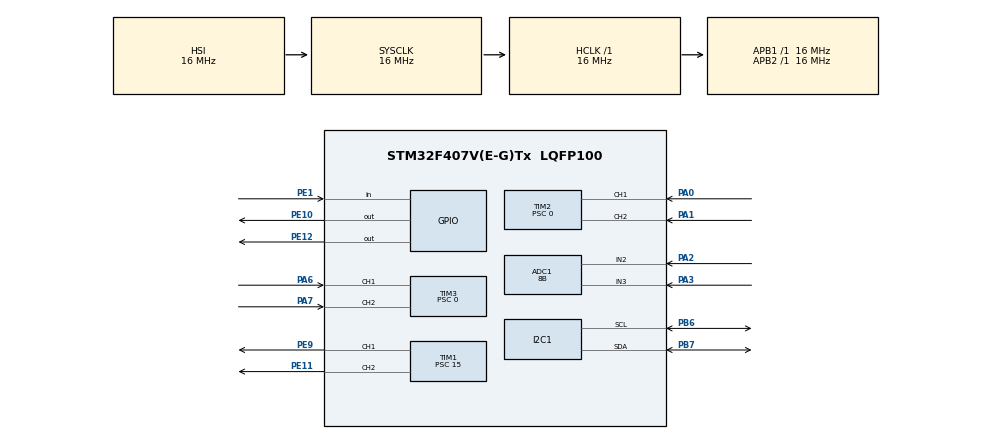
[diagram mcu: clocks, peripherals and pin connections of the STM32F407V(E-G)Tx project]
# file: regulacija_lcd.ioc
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ADC1.Channel-8\#ChannelRegularConversion=ADC_CHANNEL_2
ADC1.Channel-9\#ChannelRegularConversion=ADC_CHANNEL_3
ADC1.ClockPrescaler=ADC_CLOCK_SYNC_PCLK_DIV8
ADC1.ContinuousConvMode=ENABLE
ADC1.DMAContinuousRequests=ENABLE
ADC1.NbrOfConversion=2
ADC1.NbrOfConversionFlag=1
ADC1.Rank-8\#ChannelRegularConversion=1
ADC1.Rank-9\#ChannelRegularConversion=2
ADC1.Resolution=ADC_RESOLUTION_8B
ADC1.SamplingTime-8\#ChannelRegularConversion=ADC_SAMPLETIME_480CYCLES
ADC1.SamplingTime-9\#ChannelRegularConversion=ADC_SAMPLETIME_480CYCLES
ADC1.ScanConvMode=ENABLE
ADC1.master=1
Dma.ADC1.0.Direction=DMA_PERIPH_TO_MEMORY
Dma.ADC1.0.FIFOMode=DMA_FIFOMODE_DISABLE
Dma.ADC1.0.Instance=DMA2_Stream0
Dma.ADC1.0.MemDataAlignment=DMA_MDATAALIGN_BYTE
Dma.ADC1.0.MemInc=DMA_MINC_ENABLE
Dma.ADC1.0.Mode=DMA_CIRCULAR
Dma.ADC1.0.PeriphDataAlignment=DMA_PDATAALIGN_BYTE
Dma.ADC1.0.PeriphInc=DMA_PINC_DISABLE
Dma.ADC1.0.Priority=DMA_PRIORITY_LOW
Dma.Request0=ADC1
Mcu.Family=STM32F4
Mcu.Name=STM32F407V(E-G)Tx
Mcu.Package=LQFP100
NVIC.DMA2_Stream0_IRQn=true\:0\:0\:false\:false\:true\:false
NVIC.PriorityGroup=NVIC_PRIORITYGROUP_4
NVIC.TIM4_IRQn=true\:0\:0\:false\:false\:true\:true
PA0-WKUP.GPIO_PuPd=GPIO_PULLUP
PA0-WKUP.Signal=S_TIM2_CH1_ETR
PA1.GPIO_PuPd=GPIO_PULLUP
PA1.Signal=S_TIM2_CH2
PA2.Signal=ADCx_IN2
PA3.Signal=ADCx_IN3
PA6.GPIO_PuPd=GPIO_PULLUP
PA6.Signal=S_TIM3_CH1
PA7.GPIO_PuPd=GPIO_PULLUP
PA7.Signal=S_TIM3_CH2
PB6.Mode=I2C
PB6.Signal=I2C1_SCL
PB7.Mode=I2C
PB7.Signal=I2C1_SDA
PE1.GPIO_PuPd=GPIO_PULLUP
PE1.Signal=GPIO_Input
PE10.Signal=GPIO_Output
PE11.GPIO_PuPd=GPIO_NOPULL
PE11.Signal=S_TIM1_CH2
PE12.Signal=GPIO_Output
PE9.GPIO_PuPd=GPIO_NOPULL
PE9.Signal=S_TIM1_CH1
ProjectManager.HeapSize=0x200
ProjectManager.StackSize=0x400
ProjectManager.TargetToolchain=MDK-ARM V5
RCC.AHBFreq_Value=16000000
RCC.APB1Freq_Value=16000000
RCC.APB2Freq_Value=16000000
RCC.CortexFreq_Value=16000000
RCC.HSE_VALUE=25000000
RCC.HSI_VALUE=16000000
RCC.LSE_VALUE=32768
RCC.SYSCLKFreq_VALUE=16000000
RCC.VCOOutputFreq_Value=192000000
SH.ADCx_IN2.0=ADC1_IN2,IN2
SH.ADCx_IN3.0=ADC1_IN3,IN3
SH.S_TIM1_CH1.0=TIM1_CH1,PWM Generation1 CH1
SH.S_TIM1_CH2.0=TIM1_CH2,PWM Generation2 CH2
SH.S_TIM2_CH1_ETR.0=TIM2_CH1,Encoder_Interface
SH.S_TIM2_CH2.0=TIM2_CH2,Encoder_Interface
SH.S_TIM3_CH1.0=TIM3_CH1,Encoder_Interface
SH.S_TIM3_CH2.0=TIM3_CH2,Encoder_Interface
TIM1.Channel-PWM\ Generation1\ CH1=TIM_CHANNEL_1
TIM1.Channel-PWM\ Generation2\ CH2=TIM_CHANNEL_2
TIM1.Period=100
TIM1.Prescaler=15
TIM2.EncoderMode=TIM_ENCODERMODE_TI12
TIM2.IC1Filter=15
TIM2.IC2Filter=15
TIM2.Period=2400
TIM2.Prescaler=0
TIM3.EncoderMode=TIM_ENCODERMODE_TI12
TIM3.IC1Filter=15
TIM3.IC2Filter=15
TIM3.Period=2400
TIM3.Prescaler=0
TIM4.Period=1000
TIM4.Prescaler=15
TIM4.TIM_MasterOutputTrigger=TIM_TRGO_UPDATE
VP_TIM1_VS_ClockSourceINT.Mode=Internal
VP_TIM4_VS_ClockSourceINT.Mode=Internal
board=regulacija_lcd

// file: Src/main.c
/**
  ******************************************************************************
  * File Name          : main.c
  * Description        : Main program body
  ******************************************************************************
  ** This notice applies to any and all portions of this file
  * that are not between comment pairs USER CODE BEGIN and
  * USER CODE END. Other portions of this file, whether
  * inserted by the user or by software development tools
  * are owned by their respective copyright owners.
  *
  * COPYRIGHT(c) 2018 STMicroelectronics
  *
  * Redistribution and use in source and binary forms, with or without modification,
  * are permitted provided that the following conditions are met:
  *   1. Redistributions of source code must retain the above copyright notice,
  *      this list of conditions and the following disclaimer.
  *   2. Redistributions in binary form must reproduce the above copyright notice,
  *      this list of conditions and the following disclaimer in the documentation
  *      and/or other materials provided with the distribution.
  *   3. Neither the name of STMicroelectronics nor the names of its contributors
  *      may be used to endorse or promote products derived from this software
  *      without specific prior written permission.
  *
  * THIS SOFTWARE IS PROVIDED BY THE COPYRIGHT HOLDERS AND CONTRIBUTORS "AS IS"
  * AND ANY EXPRESS OR IMPLIED WARRANTIES, INCLUDING, BUT NOT LIMITED TO, THE
  * IMPLIED WARRANTIES OF MERCHANTABILITY AND FITNESS FOR A PARTICULAR PURPOSE ARE
  * DISCLAIMED. IN NO EVENT SHALL THE COPYRIGHT HOLDER OR CONTRIBUTORS BE LIABLE
  * FOR ANY DIRECT, INDIRECT, INCIDENTAL, SPECIAL, EXEMPLARY, OR CONSEQUENTIAL
  * DAMAGES (INCLUDING, BUT NOT LIMITED TO, PROCUREMENT OF SUBSTITUTE GOODS OR
  * SERVICES; LOSS OF USE, DATA, OR PROFITS; OR BUSINESS INTERRUPTION) HOWEVER
  * CAUSED AND ON ANY THEORY OF LIABILITY, WHETHER IN CONTRACT, STRICT LIABILITY,
  * OR TORT (INCLUDING NEGLIGENCE OR OTHERWISE) ARISING IN ANY WAY OUT OF THE USE
  * OF THIS SOFTWARE, EVEN IF ADVISED OF THE POSSIBILITY OF SUCH DAMAGE.
  *
  ******************************************************************************
  */
#include "main.h"
#include "stm32f4xx_hal.h"
#include "math.h"
#include "regulator.h"
#include "parametri.h"

ADC_HandleTypeDef hadc1;
DMA_HandleTypeDef hdma_adc1;

I2C_HandleTypeDef hi2c1;

TIM_HandleTypeDef htim1;
TIM_HandleTypeDef htim2;
TIM_HandleTypeDef htim3;
TIM_HandleTypeDef htim4;

/* USER CODE BEGIN PV */
/* Private variables ---------------------------------------------------------*/
#define LCD_ADDRESS_W		0x7E
/* USER CODE END PV */

void SystemClock_Config(void);
static void MX_GPIO_Init(void);
static void MX_DMA_Init(void);
static void MX_TIM1_Init(void);
static void MX_TIM2_Init(void);
static void MX_TIM3_Init(void);
static void MX_TIM4_Init(void);
static void MX_I2C1_Init(void);
static void MX_ADC1_Init(void);

void HAL_TIM_MspPostInit(TIM_HandleTypeDef *htim);

/* USER CODE BEGIN PFP */
/* Private function prototypes -----------------------------------------------*/
void lcd_send_cmd(char cmd)
{
	char data_u, data_l;
	uint8_t data_t[4];
	data_u = cmd&0xf0; //select upper nibble
	data_l = (cmd<<4)&0xf0; //select lower nibble
	data_t[0] = data_u|0x04;  //en=1, rs=0
	data_t[1] = data_u;  //en=0, rs=0
	data_t[2] = data_l|0x04;  //en=1, rs=0
	data_t[3] = data_l;  //en=0, rs=0
	HAL_I2C_Master_Transmit (&hi2c1, LCD_ADDRESS_W, data_t, 4, 50);
}

/* LCD data function */
void lcd_send_data (char data)
{
	char data_u, data_l;
	uint8_t data_t[4];
	data_u = data&0xf0;    // upper data nibble
	data_l = (data<<4)&0xf0;    // lower data nibble
	data_t[0] = data_u|0x05;  //en=1, rs=1
	data_t[1] = data_u|0x01;  //en=0, rs=1
	data_t[2] = data_l|0x05;  //en=1, rs=1
	data_t[3] = data_l|0x01;  //en=0, rs=1
	HAL_I2C_Master_Transmit (&hi2c1, LCD_ADDRESS_W, data_t, 4, 100);
}

/* LCD init */
void lcd_init(void)
{
	lcd_send_cmd(0x01); //clear display
	lcd_send_cmd(0x02);	//return home
	lcd_send_cmd(0x28); // 4 bits, 2 lines
	lcd_send_cmd(0x0c); // display on, cursor off
	//lcd_send_cmd(0x83); // set DDRAM position
}

/* LCD send string */
void lcd_send_string (char *str)
{
	uint8_t i = 0;
	while (*str) {
		lcd_send_data(*str++);
		i++;
	}
	if(i == 2){
		lcd_send_data(' ');
	}
}

void lcd_write_deg (char *deg, uint8_t pos)
{
	lcd_send_cmd(pos);
	lcd_send_string(deg);
}
/* USER CODE END PFP */

/* USER CODE BEGIN 0 */
int dutyCycle1, dutyCycle2;
double deg1, deg2, ref1, ref2, err1, err2, pitch_int, yaw_int, anti_windup_pitch, anti_windup_yaw;
double	u_int1, u_int2, u_p1, u_p2, u_pff, u_pitch, u_yaw;
//(k), (k-1), (k-2)
double speed_pitch[3] = {0.0, 0.0, 0.0};
double speed_yaw[3] = {0.0, 0.0, 0.0};
//(k-1), (k-2)
double pitch[2] = {0.0, 0.0};
double yaw[2] = {0.0, 0.0};
double test[3] = {1.0, 2.0, 3.0};
uint8_t potentiometer[2];
int pot2deg[2];
char pitch_buffer[4];
char yaw_buffer[4];
uint8_t lcd_pos[2] = {0xc3,0xcc};
GPIO_PinState button, last_State;
/* USER CODE END 0 */

int main(void)
{

  /* USER CODE BEGIN 1 */
	/* PWM inicijalizacija */
	ref1 = 0.0;
	ref2 = 0.0;

	pitch_int = 0.0;
	yaw_int = 0.0;
	anti_windup_pitch = 0.0;
	anti_windup_yaw = 0.0;

	last_State = 1;

  /* USER CODE END 1 */

  /* MCU Configuration----------------------------------------------------------*/

  /* Reset of all peripherals, Initializes the Flash interface and the Systick. */
  HAL_Init();

  /* Configure the system clock */
  SystemClock_Config();

  /* Initialize all configured peripherals */
  MX_GPIO_Init();
  MX_DMA_Init();
  MX_TIM1_Init();
  MX_TIM2_Init();
  MX_TIM3_Init();
  MX_TIM4_Init();
  MX_I2C1_Init();
  MX_ADC1_Init();

  /* USER CODE BEGIN 2 */
	HAL_GPIO_WritePin(GPIOE,GPIO_PIN_10,(GPIO_PinState)0);
	HAL_GPIO_WritePin(GPIOE,GPIO_PIN_12,(GPIO_PinState)0);
	/* PWM timer start */
	HAL_TIM_PWM_Start(&htim1, TIM_CHANNEL_1);
	HAL_TIM_PWM_Start(&htim1, TIM_CHANNEL_2);
	/* Encoder timer start */
	HAL_TIM_Encoder_Start(&htim2,TIM_CHANNEL_ALL);
	HAL_TIM_Encoder_Start(&htim3,TIM_CHANNEL_ALL);
	/* Start main loop */
	HAL_TIM_Base_Start_IT(&htim4);
	/* Potentiometer start */
	HAL_ADC_Start_DMA(&hadc1, (uint32_t*)potentiometer, 2);

	lcd_init();

	lcd_send_string("PITCH:   YAW:   ");

  /* USER CODE END 2 */

  /* Infinite loop */
  while (1)
  {

  }

}

/** System Clock Configuration
*/
void SystemClock_Config(void)
{

  RCC_OscInitTypeDef RCC_OscInitStruct;
  RCC_ClkInitTypeDef RCC_ClkInitStruct;

    /**Configure the main internal regulator output voltage
    */
  __HAL_RCC_PWR_CLK_ENABLE();

  __HAL_PWR_VOLTAGESCALING_CONFIG(PWR_REGULATOR_VOLTAGE_SCALE1);

    /**Initializes the CPU, AHB and APB busses clocks
    */
  RCC_OscInitStruct.OscillatorType = RCC_OSCILLATORTYPE_HSI;
  RCC_OscInitStruct.HSIState = RCC_HSI_ON;
  RCC_OscInitStruct.HSICalibrationValue = 16;
  RCC_OscInitStruct.PLL.PLLState = RCC_PLL_NONE;
  if (HAL_RCC_OscConfig(&RCC_OscInitStruct) != HAL_OK)
  {
    _Error_Handler(__FILE__, __LINE__);
  }

    /**Initializes the CPU, AHB and APB busses clocks
    */
  RCC_ClkInitStruct.ClockType = RCC_CLOCKTYPE_HCLK|RCC_CLOCKTYPE_SYSCLK
                              |RCC_CLOCKTYPE_PCLK1|RCC_CLOCKTYPE_PCLK2;
  RCC_ClkInitStruct.SYSCLKSource = RCC_SYSCLKSOURCE_HSI;
  RCC_ClkInitStruct.AHBCLKDivider = RCC_SYSCLK_DIV1;
  RCC_ClkInitStruct.APB1CLKDivider = RCC_HCLK_DIV1;
  RCC_ClkInitStruct.APB2CLKDivider = RCC_HCLK_DIV1;

  if (HAL_RCC_ClockConfig(&RCC_ClkInitStruct, FLASH_LATENCY_0) != HAL_OK)
  {
    _Error_Handler(__FILE__, __LINE__);
  }

    /**Configure the Systick interrupt time
    */
  HAL_SYSTICK_Config(HAL_RCC_GetHCLKFreq()/1000);

    /**Configure the Systick
    */
  HAL_SYSTICK_CLKSourceConfig(SYSTICK_CLKSOURCE_HCLK);

  /* SysTick_IRQn interrupt configuration */
  HAL_NVIC_SetPriority(SysTick_IRQn, 0, 0);
}

/* ADC1 init function */
static void MX_ADC1_Init(void)
{

  ADC_ChannelConfTypeDef sConfig;

    /**Configure the global features of the ADC (Clock, Resolution, Data Alignment and number of conversion)
    */
  hadc1.Instance = ADC1;
  hadc1.Init.ClockPrescaler = ADC_CLOCK_SYNC_PCLK_DIV8;
  hadc1.Init.Resolution = ADC_RESOLUTION_8B;
  hadc1.Init.ScanConvMode = ENABLE;
  hadc1.Init.ContinuousConvMode = ENABLE;
  hadc1.Init.DiscontinuousConvMode = DISABLE;
  hadc1.Init.ExternalTrigConvEdge = ADC_EXTERNALTRIGCONVEDGE_NONE;
  hadc1.Init.ExternalTrigConv = ADC_SOFTWARE_START;
  hadc1.Init.DataAlign = ADC_DATAALIGN_RIGHT;
  hadc1.Init.NbrOfConversion = 2;
  hadc1.Init.DMAContinuousRequests = ENABLE;
  hadc1.Init.EOCSelection = ADC_EOC_SINGLE_CONV;
  if (HAL_ADC_Init(&hadc1) != HAL_OK)
  {
    _Error_Handler(__FILE__, __LINE__);
  }

    /**Configure for the selected ADC regular channel its corresponding rank in the sequencer and its sample time.
    */
  sConfig.Channel = ADC_CHANNEL_2;
  sConfig.Rank = 1;
  sConfig.SamplingTime = ADC_SAMPLETIME_480CYCLES;
  if (HAL_ADC_ConfigChannel(&hadc1, &sConfig) != HAL_OK)
  {
    _Error_Handler(__FILE__, __LINE__);
  }

    /**Configure for the selected ADC regular channel its corresponding rank in the sequencer and its sample time.
    */
  sConfig.Channel = ADC_CHANNEL_3;
  sConfig.Rank = 2;
  if (HAL_ADC_ConfigChannel(&hadc1, &sConfig) != HAL_OK)
  {
    _Error_Handler(__FILE__, __LINE__);
  }

}

/* I2C1 init function */
static void MX_I2C1_Init(void)
{

  hi2c1.Instance = I2C1;
  hi2c1.Init.ClockSpeed = 100000;
  hi2c1.Init.DutyCycle = I2C_DUTYCYCLE_2;
  hi2c1.Init.OwnAddress1 = 0;
  hi2c1.Init.AddressingMode = I2C_ADDRESSINGMODE_7BIT;
  hi2c1.Init.DualAddressMode = I2C_DUALADDRESS_DISABLE;
  hi2c1.Init.OwnAddress2 = 0;
  hi2c1.Init.GeneralCallMode = I2C_GENERALCALL_DISABLE;
  hi2c1.Init.NoStretchMode = I2C_NOSTRETCH_DISABLE;
  if (HAL_I2C_Init(&hi2c1) != HAL_OK)
  {
    _Error_Handler(__FILE__, __LINE__);
  }

}

/* TIM1 init function */
static void MX_TIM1_Init(void)
{

  TIM_ClockConfigTypeDef sClockSourceConfig;
  TIM_MasterConfigTypeDef sMasterConfig;
  TIM_OC_InitTypeDef sConfigOC;
  TIM_BreakDeadTimeConfigTypeDef sBreakDeadTimeConfig;

  htim1.Instance = TIM1;
  htim1.Init.Prescaler = 15;
  htim1.Init.CounterMode = TIM_COUNTERMODE_UP;
  htim1.Init.Period = 100;
  htim1.Init.ClockDivision = TIM_CLOCKDIVISION_DIV1;
  htim1.Init.RepetitionCounter = 0;
  if (HAL_TIM_Base_Init(&htim1) != HAL_OK)
  {
    _Error_Handler(__FILE__, __LINE__);
  }

  sClockSourceConfig.ClockSource = TIM_CLOCKSOURCE_INTERNAL;
  if (HAL_TIM_ConfigClockSource(&htim1, &sClockSourceConfig) != HAL_OK)
  {
    _Error_Handler(__FILE__, __LINE__);
  }

  if (HAL_TIM_PWM_Init(&htim1) != HAL_OK)
  {
    _Error_Handler(__FILE__, __LINE__);
  }

  sMasterConfig.MasterOutputTrigger = TIM_TRGO_RESET;
  sMasterConfig.MasterSlaveMode = TIM_MASTERSLAVEMODE_DISABLE;
  if (HAL_TIMEx_MasterConfigSynchronization(&htim1, &sMasterConfig) != HAL_OK)
  {
    _Error_Handler(__FILE__, __LINE__);
  }

  sConfigOC.OCMode = TIM_OCMODE_PWM1;
  sConfigOC.Pulse = 0;
  sConfigOC.OCPolarity = TIM_OCPOLARITY_HIGH;
  sConfigOC.OCNPolarity = TIM_OCNPOLARITY_HIGH;
  sConfigOC.OCFastMode = TIM_OCFAST_DISABLE;
  sConfigOC.OCIdleState = TIM_OCIDLESTATE_RESET;
  sConfigOC.OCNIdleState = TIM_OCNIDLESTATE_RESET;
  if (HAL_TIM_PWM_ConfigChannel(&htim1, &sConfigOC, TIM_CHANNEL_1) != HAL_OK)
  {
    _Error_Handler(__FILE__, __LINE__);
  }

  if (HAL_TIM_PWM_ConfigChannel(&htim1, &sConfigOC, TIM_CHANNEL_2) != HAL_OK)
  {
    _Error_Handler(__FILE__, __LINE__);
  }

  sBreakDeadTimeConfig.OffStateRunMode = TIM_OSSR_DISABLE;
  sBreakDeadTimeConfig.OffStateIDLEMode = TIM_OSSI_DISABLE;
  sBreakDeadTimeConfig.LockLevel = TIM_LOCKLEVEL_OFF;
  sBreakDeadTimeConfig.DeadTime = 0;
  sBreakDeadTimeConfig.BreakState = TIM_BREAK_DISABLE;
  sBreakDeadTimeConfig.BreakPolarity = TIM_BREAKPOLARITY_HIGH;
  sBreakDeadTimeConfig.AutomaticOutput = TIM_AUTOMATICOUTPUT_DISABLE;
  if (HAL_TIMEx_ConfigBreakDeadTime(&htim1, &sBreakDeadTimeConfig) != HAL_OK)
  {
    _Error_Handler(__FILE__, __LINE__);
  }

  HAL_TIM_MspPostInit(&htim1);

}

/* TIM2 init function */
static void MX_TIM2_Init(void)
{

  TIM_Encoder_InitTypeDef sConfig;
  TIM_MasterConfigTypeDef sMasterConfig;

  htim2.Instance = TIM2;
  htim2.Init.Prescaler = 0;
  htim2.Init.CounterMode = TIM_COUNTERMODE_UP;
  htim2.Init.Period = 2400;
  htim2.Init.ClockDivision = TIM_CLOCKDIVISION_DIV1;
  sConfig.EncoderMode = TIM_ENCODERMODE_TI12;
  sConfig.IC1Polarity = TIM_ICPOLARITY_RISING;
  sConfig.IC1Selection = TIM_ICSELECTION_DIRECTTI;
  sConfig.IC1Prescaler = TIM_ICPSC_DIV1;
  sConfig.IC1Filter = 15;
  sConfig.IC2Polarity = TIM_ICPOLARITY_RISING;
  sConfig.IC2Selection = TIM_ICSELECTION_DIRECTTI;
  sConfig.IC2Prescaler = TIM_ICPSC_DIV1;
  sConfig.IC2Filter = 15;
  if (HAL_TIM_Encoder_Init(&htim2, &sConfig) != HAL_OK)
  {
    _Error_Handler(__FILE__, __LINE__);
  }

  sMasterConfig.MasterOutputTrigger = TIM_TRGO_RESET;
  sMasterConfig.MasterSlaveMode = TIM_MASTERSLAVEMODE_DISABLE;
  if (HAL_TIMEx_MasterConfigSynchronization(&htim2, &sMasterConfig) != HAL_OK)
  {
    _Error_Handler(__FILE__, __LINE__);
  }

}

/* TIM3 init function */
static void MX_TIM3_Init(void)
{

  TIM_Encoder_InitTypeDef sConfig;
  TIM_MasterConfigTypeDef sMasterConfig;

  htim3.Instance = TIM3;
  htim3.Init.Prescaler = 0;
  htim3.Init.CounterMode = TIM_COUNTERMODE_UP;
  htim3.Init.Period = 2400;
  htim3.Init.ClockDivision = TIM_CLOCKDIVISION_DIV1;
  sConfig.EncoderMode = TIM_ENCODERMODE_TI12;
  sConfig.IC1Polarity = TIM_ICPOLARITY_RISING;
  sConfig.IC1Selection = TIM_ICSELECTION_DIRECTTI;
  sConfig.IC1Prescaler = TIM_ICPSC_DIV1;
  sConfig.IC1Filter = 15;
  sConfig.IC2Polarity = TIM_ICPOLARITY_RISING;
  sConfig.IC2Selection = TIM_ICSELECTION_DIRECTTI;
  sConfig.IC2Prescaler = TIM_ICPSC_DIV1;
  sConfig.IC2Filter = 15;
  if (HAL_TIM_Encoder_Init(&htim3, &sConfig) != HAL_OK)
  {
    _Error_Handler(__FILE__, __LINE__);
  }

  sMasterConfig.MasterOutputTrigger = TIM_TRGO_RESET;
  sMasterConfig.MasterSlaveMode = TIM_MASTERSLAVEMODE_DISABLE;
  if (HAL_TIMEx_MasterConfigSynchronization(&htim3, &sMasterConfig) != HAL_OK)
  {
    _Error_Handler(__FILE__, __LINE__);
  }

}

/* TIM4 init function */
static void MX_TIM4_Init(void)
{

  TIM_ClockConfigTypeDef sClockSourceConfig;
  TIM_MasterConfigTypeDef sMasterConfig;

  htim4.Instance = TIM4;
  htim4.Init.Prescaler = 15;
  htim4.Init.CounterMode = TIM_COUNTERMODE_UP;
  htim4.Init.Period = 1000;
  htim4.Init.ClockDivision = TIM_CLOCKDIVISION_DIV1;
  if (HAL_TIM_Base_Init(&htim4) != HAL_OK)
  {
    _Error_Handler(__FILE__, __LINE__);
  }

  sClockSourceConfig.ClockSource = TIM_CLOCKSOURCE_INTERNAL;
  if (HAL_TIM_ConfigClockSource(&htim4, &sClockSourceConfig) != HAL_OK)
  {
    _Error_Handler(__FILE__, __LINE__);
  }

  sMasterConfig.MasterOutputTrigger = TIM_TRGO_UPDATE;
  sMasterConfig.MasterSlaveMode = TIM_MASTERSLAVEMODE_DISABLE;
  if (HAL_TIMEx_MasterConfigSynchronization(&htim4, &sMasterConfig) != HAL_OK)
  {
    _Error_Handler(__FILE__, __LINE__);
  }

}

static void MX_DMA_Init(void)
{
  /* DMA controller clock enable */
  __HAL_RCC_DMA2_CLK_ENABLE();

  /* DMA interrupt init */
  /* DMA2_Stream0_IRQn interrupt configuration */
  HAL_NVIC_SetPriority(DMA2_Stream0_IRQn, 0, 0);
  HAL_NVIC_EnableIRQ(DMA2_Stream0_IRQn);

}

/** Configure pins as
        * Analog
        * Input
        * Output
        * EVENT_OUT
        * EXTI
*/
static void MX_GPIO_Init(void)
{

  GPIO_InitTypeDef GPIO_InitStruct;

  /* GPIO Ports Clock Enable */
  __HAL_RCC_GPIOA_CLK_ENABLE();
  __HAL_RCC_GPIOE_CLK_ENABLE();
  __HAL_RCC_GPIOB_CLK_ENABLE();

  /*Configure GPIO pin Output Level */
  HAL_GPIO_WritePin(GPIOE, GPIO_PIN_10|GPIO_PIN_12, GPIO_PIN_RESET);

  /*Configure GPIO pins : PE10 PE12 */
  GPIO_InitStruct.Pin = GPIO_PIN_10|GPIO_PIN_12;
  GPIO_InitStruct.Mode = GPIO_MODE_OUTPUT_PP;
  GPIO_InitStruct.Pull = GPIO_NOPULL;
  GPIO_InitStruct.Speed = GPIO_SPEED_FREQ_LOW;
  HAL_GPIO_Init(GPIOE, &GPIO_InitStruct);

  /*Configure GPIO pin : PE1 */
  GPIO_InitStruct.Pin = GPIO_PIN_1;
  GPIO_InitStruct.Mode = GPIO_MODE_INPUT;
  GPIO_InitStruct.Pull = GPIO_PULLUP;
  HAL_GPIO_Init(GPIOE, &GPIO_InitStruct);

}

/* USER CODE BEGIN 4 */
void HAL_TIM_PeriodElapsedCallback(TIM_HandleTypeDef *htim)
{
  //Prevent unused argument(s) compilation warning
  UNUSED(htim);

	pot2deg[0] = round(((255 - potentiometer[0])/4.25 - 30.0));
	pot2deg[1] = round(((255 - potentiometer[1])/4.25 - 30.0));

	if(pot2deg[0]<0){
		pitch_buffer[0] = '-';
	}else{
		pitch_buffer[0] = ' ';
	}
	if(pot2deg[1]<0){
		yaw_buffer[0] = '-';
	}else{
		yaw_buffer[0] = ' ';
	}
	snprintf(pitch_buffer+1, 10, "%d", abs(pot2deg[0]));
	snprintf(yaw_buffer+1, 10, "%d", abs(pot2deg[1]));
	lcd_write_deg(pitch_buffer, *lcd_pos);
	lcd_write_deg(yaw_buffer, *(lcd_pos+1));

	deg1 = Get_Encoder_Pos(&htim3);
	deg2 = - Get_Encoder_Pos(&htim2);

	Set_Pose(pitch, deg1, bias);
	Set_Pose(yaw, deg2, 0.0);

	err1 = ref1 - *pitch;
	err2 = ref2 - deg2;

	u_int1 = integral_control(err1, err2, &pitch_int, &anti_windup_pitch, 0);
	//u_int2 = integral_control(err1, err2, &yaw_int, &anti_windup_yaw, 1);

	proporcional(err1, err2, *speed_pitch, *speed_yaw, &u_p1, &u_p2);

	u_pff = feed_forward(*pitch);

	u_pitch = u_int1 + u_p1 + u_pff;
	//u_yaw = u_int2 + u_p2;
	//u_pitch = u_p1 + u_pff;
	Set_Speed(1, u_pitch, &htim1);
	//Set_Speed(2, u_yaw, &htim1);

	Get_Speed(speed_pitch, pitch);
	//Get_Speed(speed_yaw, yaw);

	button = HAL_GPIO_ReadPin(GPIOE, GPIO_PIN_1);
	if(button == 0 & last_State == 1){
		ref1 = pot2deg[0]*(3.14159/180.0);
		ref2 = pot2deg[1]*(3.14159/180.0);
	}
	last_State = button;
	return;
}
/* USER CODE END 4 */

void _Error_Handler(char * file, int line)
{
  while(1)
  {
  }
}

/************************ (C) COPYRIGHT STMicroelectronics *****END OF FILE****/
